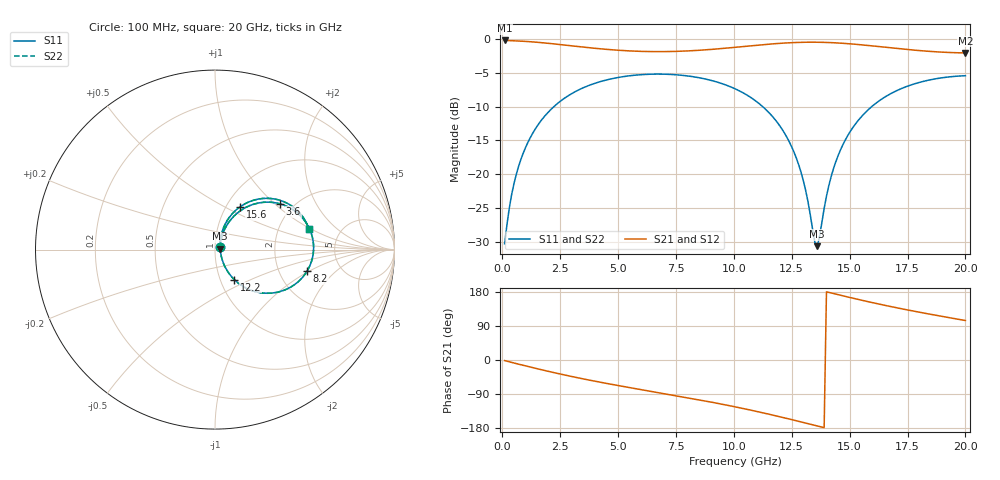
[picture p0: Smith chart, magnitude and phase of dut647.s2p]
! Touchstone file exported from HFSS 2026.1.0
!  File:  C:/ffzhzh/LocalFiles/Ansys_Project_Files/temp_train_TSV_RDL_647_1783128805_50312.aedt
!  Generated:  09:44:43 AM Jul  4, 2026
!  Design:  TSV_RDL
!  Project:  temp_train_TSV_RDL_647_1783128805_50312
! Variables:
!  h_bsmrdl = 3.64um
!  h_ox = 20um
!  h_rdl = 5um
!  h_sub = 79.11um
!  h_tmrdl = 4.16um
!  h_tsv = 79.11um
!  h_via = 3um
!  l_bsmrdl = 515.7um
!  l_sub = 4252.17um
!  l_tmrdl = 549.92um
!  m_sub = 200um
!  pitch = 40.79um
!  r_tsv = 3.97um
!  s_tmrdl = 10um
!  w_bsmrdl = 22.72um
!  w_sub = 500um
!  w_tmrdl = 12.41um
!  x_tsv_center1 = 556.125um
!  x_tsv_center2 = 1094.545um
!  x_tsv_center3 = 1656.875um
!  x_tsv_center4 = 2195.295um
!  x_tsv_center5 = 2757.625um
!  x_tsv_center6 = 3296.045um
# GHz S MA R 50.000000
! Terminal data exported
! Port[1] = TM_RDL1_1_T1
! Port[2] = TM_RDL5_1_T1
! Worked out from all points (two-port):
!   200 points, 100 MHz to 20 GHz, reference 50 ohm
!   highest |S21| = -0.23 dB at 100 MHz (marker M1); lowest = -2.1 dB at 20 GHz (marker M2)
!   |S21| within 3 dB of the highest: start of sweep to end of sweep
!   lowest |S11| = -30.6 dB at 13.6 GHz (marker M3), VSWR 1.06, Z = 53 + j0.574 ohm
!   |S11| at or under -10 dB: start of sweep to 2.231 GHz; 11.24 GHz to 15.96 GHz (4.712 GHz wide, 34.6 % of centre)
!   |S22| runs from -30.7 to -5.2 dB; largest |S21 - S12| = 1.6e-14
!   S11 on the Smith chart (normalised r, x): 100 MHz: 1.05, +0.03; 3.6 GHz: 1.70, +1.08; 8.2 GHz: 2.88, -0.95; 12.2 GHz: 1.17, -0.41; 15.6 GHz: 1.16, +0.60; 20 GHz: 2.95, +0.96
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0.1  0.03064 31.5  0.9742 -1.6  0.9742 -1.6  0.03064 31.5
! Gamma 0 0 0 0
! Port Impedance 50 0 50 0
0.5  0.08462 62.7  0.9687 -7.9  0.9687 -7.9  0.08462 62.7
1.2  0.1851 62.4  0.9537 -18.5  0.9537 -18.5  0.1851 62.4
2.2  0.3127 51.6  0.9201 -32.9  0.9201 -32.9  0.3127 51.6
3.5  0.4358 36.3  0.87 -49.9  0.87 -49.9  0.4358 36.3
3.6  0.4432 35.1  0.8663 -51.1  0.8663 -51.1  0.4432 35.1
5.2  0.5257 17.6  0.8208 -69.6  0.8208 -69.6  0.5257 17.6
6.8  0.5496 1.2  0.8054 -86.7  0.8054 -86.7  0.5496 1.2
8.2  0.527 -13.1  0.8184 -101.8  0.8184 -101.8  0.527 -13.1
10.1  0.4245 -33.8  0.8686 -124.1  0.8686 -124.1  0.4244 -33.8
11.3  0.3101 -47.7  0.9083 -140.0  0.9083 -140.0  0.3101 -47.8
12.2  0.1996 -57.2  0.9326 -152.9  0.9326 -152.9  0.1995 -57.3
12.9  0.1037 -59.3  0.9437 -163.4  0.9437 -163.4  0.1036 -59.5
13.4  0.03925 -34.9  0.9459 -170.9  0.9459 -170.9  0.03896 -35.3
13.6  0.02941 10.6  0.9454 -174.0  0.9454 -174.0  0.02904 10.7
14  0.06873 63.0  0.9419 180.0  0.9419 180.0  0.06858 63.3
14.4  0.1232 68.6  0.9353 173.9  0.9353 173.9  0.1231 68.8
14.9  0.1905 66.4  0.9233 166.6  0.9233 166.6  0.1905 66.5
15.6  0.2769 59.5  0.9015 156.6  0.9015 156.6  0.2769 59.6
16.7  0.3877 47.2  0.8621 142.0  0.8621 142.0  0.3876 47.2
18.2  0.4864 30.9  0.8151 123.9  0.8151 123.9  0.4864 30.9
20  0.5346 12.6  0.7877 104.2  0.7877 104.2  0.5346 12.6
